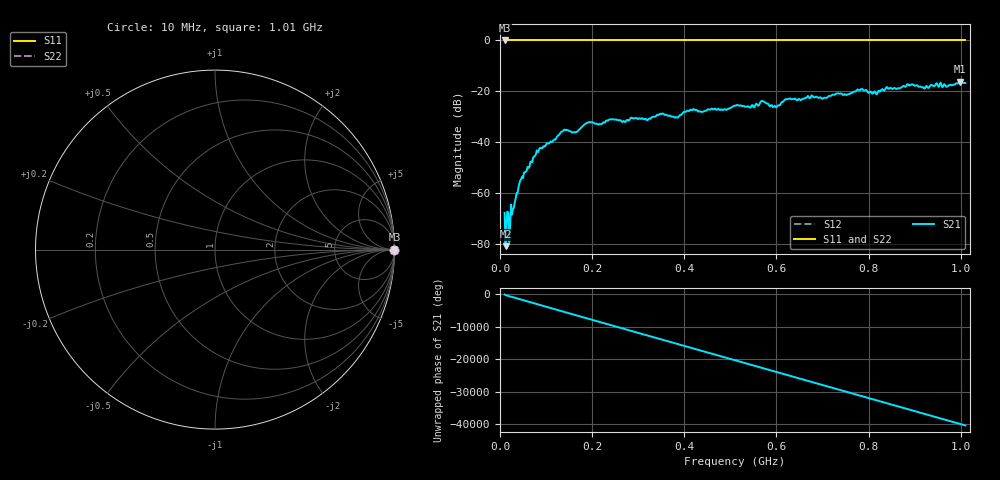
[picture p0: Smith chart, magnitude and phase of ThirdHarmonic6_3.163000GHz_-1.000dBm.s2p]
! 8/17/2025 9:30:16 AM
! C:\ANRITSUVNA\TEMP\TEMP.S2P
! CHANNEL.1
! TR.MEASUREMENT
! RAW.DATA
! RF.CORRECTION.OFF
! AVERAGING.OFF
! IF.BANDWIDTH: 5KHZ
! SWEEPTYPE:  FREQ.SWEEP(Linear)
! Reference Plane Port Info
! PORT:  PORT1  PORT2
! DISTANCE:  0  m  0  m
! TIME:  0  s  0  s
! PHASE.OFFSET:  0  deg.  0  deg.
! LOSS:  0  dB  0  dB
! REF.LOSS:  0  dB  0  dB
! REF.FREQ:  0  Hz  0  Hz
! Power Info
! POWER:  -20  dBm  -20  dBm
! EFF.POWER:  -20  dBm  -20  dBm
! SOURCE.ATTEN:  0  dB  0  dB
! TEST.ATTEN:  0  dB  0  dB
# GHZ S RI R 50.0
! FREQ.GHZ  S11RE  S11IM  S21RE  S21IM  S12RE  S12IM  S22RE  S22IM
!; PortSelection: Port_12
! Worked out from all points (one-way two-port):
!   501 points, 10 MHz to 1.01 GHz, reference 50 ohm
!   highest |S21| = -16.21 dB at 998 MHz (marker M1); lowest = -80.8 dB at 12 MHz (marker M2)
!   lowest |S11| = 0.0 dB at 10 MHz (marker M3)
!   |S11| at or under -10 dB: nowhere
!   |S22| runs from 0.0 to 0.0 dB; largest |S21 - S12| = 1.1
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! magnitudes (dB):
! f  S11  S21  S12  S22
! 10 MHz  0.0  -67.7  0.0  0.0
! 12 MHz  0.0  -80.8  0.0  0.0
! 16 MHz  0.0  -67.2  0.0  0.0
! 20 MHz  0.0  -79.2  0.0  0.0
! 24 MHz  0.0  -64.5  0.0  0.0
! 28 MHz  0.0  -66.4  0.0  0.0
! 44 MHz  0.0  -55.0  0.0  0.0
! 84 MHz  0.0  -43.2  0.0  0.0
! 136 MHz  0.0  -35.7  0.0  0.0
! 164 MHz  0.0  -36.2  0.0  0.0
! 178 MHz  0.0  -33.9  0.0  0.0
! 344 MHz  0.0  -29.3  0.0  0.0
! 382 MHz  0.0  -30.1  0.0  0.0
! 416 MHz  0.0  -27.4  0.0  0.0
! 510 MHz  0.0  -25.6  0.0  0.0
! 570 MHz  0.0  -23.8  0.0  0.0
! 596 MHz  0.0  -25.6  0.0  0.0
! 622 MHz  0.0  -23.1  0.0  0.0
! 678 MHz  0.0  -21.7  0.0  0.0
! 844 MHz  0.0  -19.0  0.0  0.0
! 998 MHz  0.0  -16.2  0.0  0.0
! 1.01 GHz  0.0  -16.7  0.0  0.0
